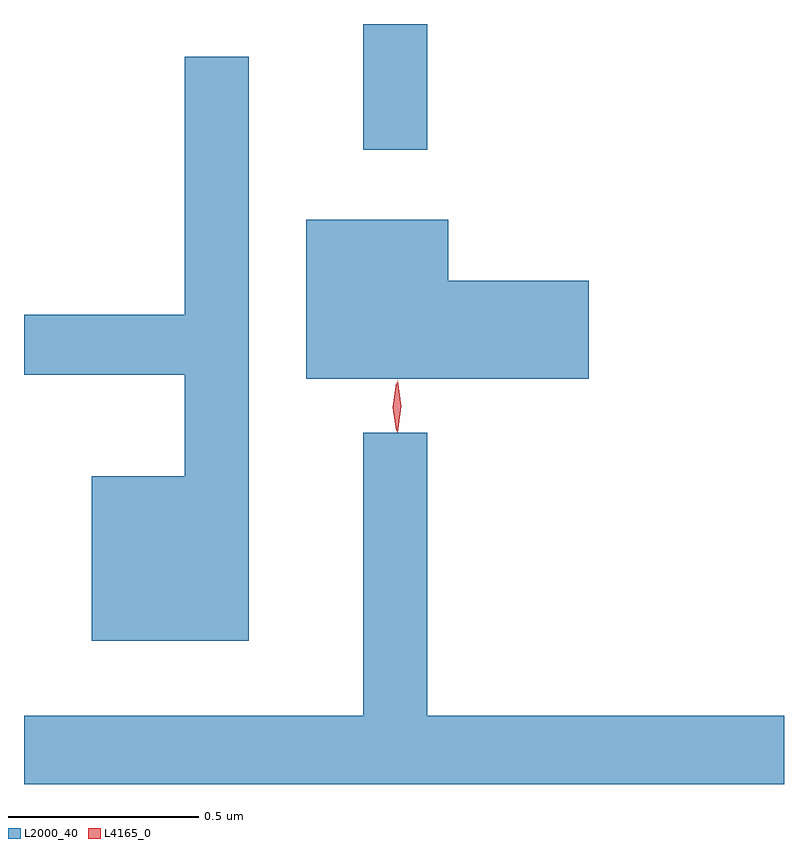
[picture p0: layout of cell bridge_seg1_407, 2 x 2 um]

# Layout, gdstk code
import gdstk
lib = gdstk.Library(unit=1e-6, precision=1e-09)
def R(c, l, rs):  # rectangles x0, y0, x1, y1
    for r in rs: c.add(gdstk.rectangle(r[:2], r[2:], *l))
def P(c, l, *ps):  # polygons
    for p in ps: c.add(gdstk.Polygon(p, *l))
L2000_40 = (2000, 40)
L4165_0 = (4165, 0)

bridge_seg1_407 = lib.new_cell('bridge_seg1_407')
R(bridge_seg1_407, L2000_40, [(440.971,965.713,441.139,966.044)])
P(bridge_seg1_407, L2000_40, [(440.669,965.958),(440.501,965.958),(440.501,965.279),(440.078,965.279),(440.078,965.121),(440.501,965.121),(440.501,964.854),(440.256,964.854),(440.256,964.421),(440.669,964.421)],
  [(441.564,965.369),(441.194,965.369),(441.194,965.529),(440.821,965.529),(440.821,965.111),(441.564,965.111)],
  [(442.078,964.224),(441.139,964.224),(441.139,964.968),(440.971,964.968),(440.971,964.224),(440.078,964.224),(440.078,964.044),(442.078,964.044)])
P(bridge_seg1_407, L4165_0, [(441.06,964.97),(441.06,964.97),(441.051,965.038),(441.061,965.105),(441.062,965.106),(441.062,965.105),(441.071,965.038),(441.061,964.97)],
  [(441.058,964.973),(441.057,964.974),(441.048,965.036),(441.057,965.1),(441.058,965.1),(441.058,965.1),(441.068,965.036),(441.058,964.974)])

lib.write_gds('bridge_seg1_407.gds')
